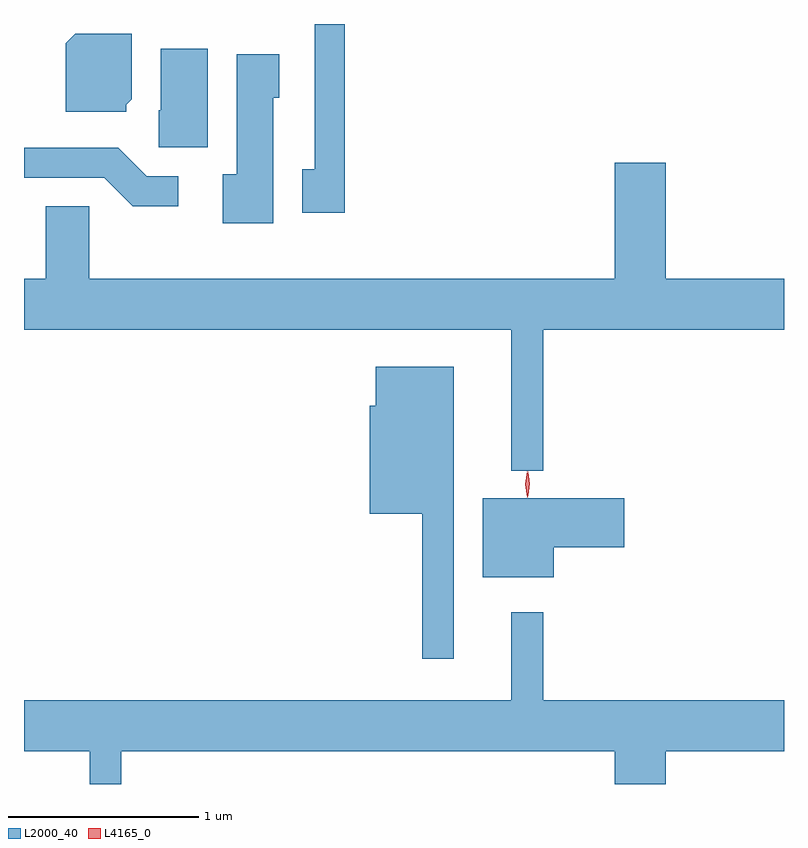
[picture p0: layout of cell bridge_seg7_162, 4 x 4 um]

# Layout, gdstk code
import gdstk
lib = gdstk.Library(unit=1e-6, precision=1e-09)
def P(c, l, *ps):  # polygons
    for p in ps: c.add(gdstk.Polygon(p, *l))
L2000_40 = (2000, 40)
L4165_0 = (4165, 0)

bridge_seg7_162 = lib.new_cell('bridge_seg7_162')
P(bridge_seg7_162, L2000_40, [(1632.234,1702.604),(1632.076,1702.604),(1632.076,1701.839),(1632.011,1701.839),(1632.011,1701.611),(1632.234,1701.611)],
  [(1631.084,1702.179),(1631.114,1702.209),(1631.114,1702.554),(1630.817,1702.554),(1630.766,1702.504),(1630.766,1702.141),(1631.084,1702.141)],
  [(1631.514,1702.474),(1631.266,1702.474),(1631.266,1702.15),(1631.256,1702.15),(1631.256,1701.956),(1631.514,1701.956)],
  [(1631.859,1702.216),(1631.889,1702.216),(1631.889,1702.444),(1631.666,1702.444),(1631.666,1701.814),(1631.591,1701.814),(1631.591,1701.556),(1631.859,1701.556)],
  [(1631.358,1701.804),(1631.192,1701.804),(1631.042,1701.954),(1630.546,1701.954),(1630.546,1701.796),(1630.969,1701.796),(1631.119,1701.646),(1631.358,1701.646)],
  [(1633.279,1700.996),(1634.546,1700.996),(1634.546,1701.264),(1633.924,1701.264),(1633.924,1701.874),(1633.656,1701.874),(1633.656,1701.264),(1630.889,1701.264),(1630.889,1701.644),(1630.661,1701.644),(1630.661,1701.264),(1630.546,1701.264),(1630.546,1700.996),(1633.111,1700.996),(1633.111,1700.253),(1633.279,1700.253)],
  [(1632.809,1700.799),(1632.396,1700.799),(1632.396,1700.594),(1632.366,1700.594),(1632.366,1700.026),(1632.641,1700.026),(1632.641,1699.263),(1632.809,1699.263)],
  [(1633.334,1699.851),(1633.704,1699.851),(1633.704,1700.109),(1632.961,1700.109),(1632.961,1699.691),(1633.334,1699.691)],
  [(1631.059,1698.776),(1633.656,1698.776),(1633.656,1698.604),(1633.924,1698.604),(1633.924,1698.776),(1634.546,1698.776),(1634.546,1699.044),(1633.279,1699.044),(1633.279,1699.508),(1633.111,1699.508),(1633.111,1699.044),(1630.546,1699.044),(1630.546,1698.776),(1630.891,1698.776),(1630.891,1698.604),(1631.059,1698.604)])
P(bridge_seg7_162, L4165_0, [(1633.195,1700.114),(1633.185,1700.182),(1633.194,1700.25),(1633.195,1700.25),(1633.195,1700.25),(1633.205,1700.182),(1633.196,1700.114),(1633.196,1700.114)],
  [(1633.199,1700.12),(1633.199,1700.12),(1633.189,1700.184),(1633.199,1700.247),(1633.199,1700.247),(1633.2,1700.247),(1633.209,1700.184),(1633.2,1700.12)])

lib.write_gds('bridge_seg7_162.gds')
